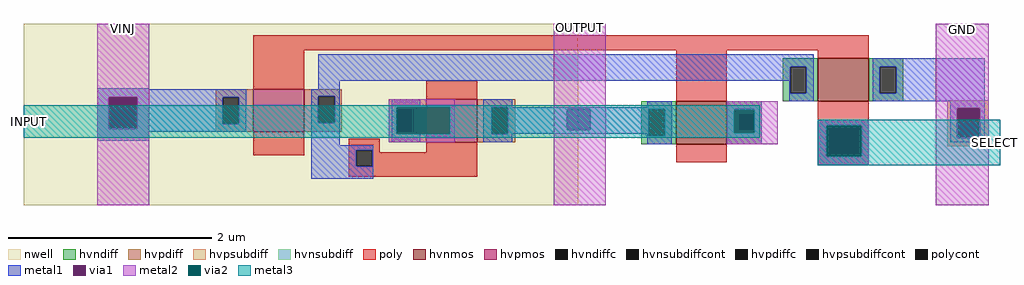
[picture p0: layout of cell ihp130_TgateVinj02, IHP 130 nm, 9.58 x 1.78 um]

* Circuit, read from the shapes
.subckt ihp130_TgateVinj02 VINJ OUTPUT GND INPUT SELECT
XM1 INPUT SELECT OUTPUT GND sg13_hv_nmos w=0.42u l=0.5u
XM2 GND SELECT n1 GND sg13_hv_nmos w=0.42u l=0.5u
XM3 n1 SELECT VINJ VINJ sg13_hv_pmos w=0.42u l=0.5u
XM4 OUTPUT n1 INPUT VINJ sg13_hv_pmos w=0.42u l=0.5u
.ends

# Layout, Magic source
magic
tech ihp-sg13g2
<< nwell >>
rect -372 -53 172 125
<< hvnmos >>
rect 407 49 457 91
rect 268 7 318 49
<< hvpmos >>
rect -147 19 -97 61
rect 23 9 73 51
<< hvndiff >>
rect 373 83 407 91
rect 373 57 380 83
rect 396 57 407 83
rect 373 49 407 57
rect 457 83 491 91
rect 457 57 468 83
rect 484 57 491 83
rect 457 49 491 57
rect 234 41 268 49
rect 234 15 241 41
rect 257 15 268 41
rect 234 7 268 15
rect 318 37 352 49
rect 318 19 329 37
rect 345 19 352 37
rect 318 7 352 19
<< hvpdiff >>
rect -184 53 -147 61
rect -184 27 -177 53
rect -161 27 -147 53
rect -184 19 -147 27
rect -97 54 -60 61
rect -97 28 -83 54
rect -67 28 -60 54
rect -97 19 -60 28
rect -14 43 23 51
rect -14 17 -6 43
rect 10 17 23 43
rect -14 9 23 17
rect 73 43 110 51
rect 73 17 87 43
rect 103 17 110 43
rect 73 9 110 17
<< hvndiffc >>
rect 380 57 396 83
rect 468 57 484 83
rect 241 15 257 41
rect 329 19 345 37
<< hvpdiffc >>
rect -177 27 -161 53
rect -83 28 -67 54
rect -6 17 10 43
rect 87 17 103 43
<< hvpsubdiff >>
rect 534 41 575 50
rect 534 13 544 41
rect 565 13 575 41
rect 534 5 575 13
<< hvnsubdiff >>
rect -300 53 -249 62
rect -300 22 -289 53
rect -261 22 -249 53
rect -300 10 -249 22
<< hvpsubdiffcont >>
rect 544 13 565 41
<< hvnsubdiffcont >>
rect -289 22 -261 53
<< poly >>
rect -147 99 457 114
rect -147 61 -97 99
rect 23 51 73 69
rect -147 -4 -97 19
rect -53 1 -23 12
rect 268 49 318 99
rect 407 91 457 99
rect -53 -15 -46 1
rect -30 -1 -23 1
rect 23 -1 73 9
rect 407 25 457 49
rect -30 -15 73 -1
rect 268 -11 318 7
rect 407 -5 416 25
rect 450 -5 457 25
rect 407 -14 457 -5
rect -53 -25 73 -15
<< polycont >>
rect -46 -15 -30 1
rect 416 -5 450 25
<< metal1 >>
rect -83 83 403 95
rect -83 69 380 83
rect -300 61 -249 62
rect -83 61 -62 69
rect -300 53 -154 61
rect -300 22 -289 53
rect -261 27 -177 53
rect -161 27 -154 53
rect -261 22 -154 27
rect -300 19 -154 22
rect -90 54 -62 61
rect -90 28 -83 54
rect -67 28 -62 54
rect 379 57 380 69
rect 396 57 403 83
rect -300 10 -249 19
rect -90 6 -62 28
rect -11 43 17 51
rect -11 17 -6 43
rect 14 17 17 43
rect -11 9 17 17
rect 79 43 107 51
rect 379 49 403 57
rect 461 83 571 91
rect 461 57 468 83
rect 484 57 571 83
rect 461 49 571 57
rect 240 43 264 49
rect 79 17 87 43
rect 103 41 264 43
rect 103 21 161 41
rect 184 21 241 41
rect 103 17 241 21
rect 79 9 107 17
rect 240 15 241 17
rect 257 15 264 41
rect 240 7 264 15
rect 318 41 352 49
rect 318 19 325 41
rect 345 19 352 41
rect 537 42 571 49
rect 318 7 352 19
rect 407 25 457 31
rect -90 1 -29 6
rect -90 -15 -46 1
rect -30 -15 -29 1
rect 407 -5 416 25
rect 450 -5 457 25
rect 537 13 544 42
rect 566 13 571 42
rect 537 9 571 13
rect 407 -14 457 -5
rect -90 -27 -29 -15
<< via1 >>
rect -289 22 -261 53
rect -6 17 10 43
rect 10 17 14 43
rect 161 21 184 41
rect 325 37 345 41
rect 325 19 329 37
rect 329 19 345 37
rect 416 -5 450 25
rect 544 41 566 42
rect 544 13 565 41
rect 565 13 566 41
<< metal2 >>
rect -300 53 -249 125
rect -300 22 -289 53
rect -261 22 -249 53
rect -300 -53 -249 22
rect -14 43 51 51
rect -14 17 -6 43
rect 46 17 51 43
rect -14 9 51 17
rect 148 41 199 125
rect 148 21 161 41
rect 184 21 199 41
rect 148 -53 199 21
rect 318 41 368 49
rect 318 18 325 41
rect 345 18 368 41
rect 523 42 575 125
rect 318 7 368 18
rect 407 25 457 31
rect 407 -5 416 25
rect 450 -5 457 25
rect 407 -14 457 -5
rect 523 13 544 42
rect 566 13 575 42
rect 523 -53 575 13
<< via2 >>
rect -6 17 14 43
rect 14 17 46 43
rect 325 19 345 40
rect 325 18 345 19
rect 416 -5 450 25
<< metal3 >>
rect -372 43 350 45
rect -372 17 -6 43
rect 46 40 350 43
rect 46 18 325 40
rect 345 18 350 40
rect 46 17 350 18
rect -372 13 350 17
rect 407 25 586 31
rect 407 -5 416 25
rect 450 -5 586 25
rect 407 -14 586 -5
<< labels >>
flabel metal2 -300 116 -249 125 1 FreeSans 40 0 0 0 VINJ
port 1 n
flabel metal2 148 118 199 125 1 FreeSans 40 0 0 0 OUTPUT
port 2 n
flabel metal2 523 114 575 125 1 FreeSans 40 0 0 0 GND
port 3 n
flabel metal3 -372 13 -363 45 1 FreeSans 40 0 0 0 INPUT
port 4 n
flabel metal3 575 -14 586 31 1 FreeSans 40 0 0 0 SELECT
port 5 n
<< end >>
